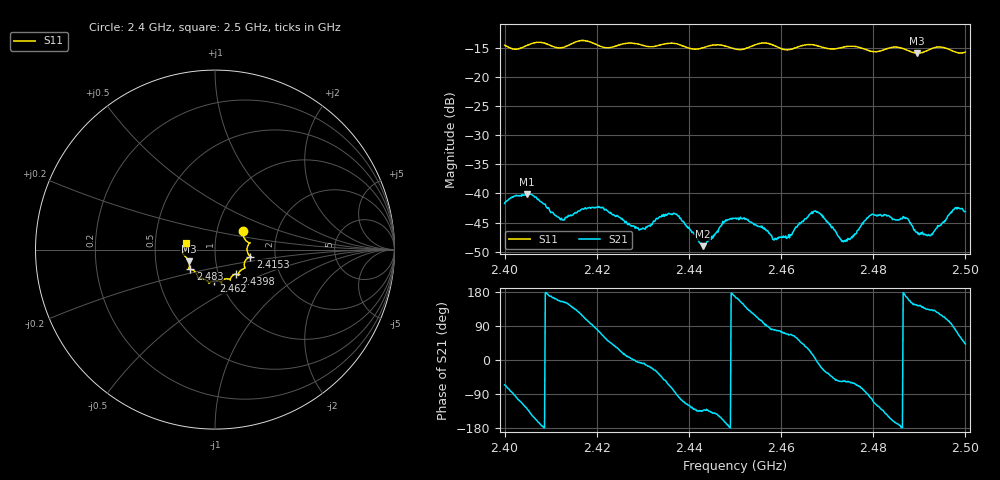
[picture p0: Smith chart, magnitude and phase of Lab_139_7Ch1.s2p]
# Hz S RI R 50
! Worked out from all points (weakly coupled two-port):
!   601 points, 2.4 GHz to 2.5 GHz, reference 50 ohm
!   highest |S21| = -40.07 dB at 2.4048 GHz (marker M1); lowest = -49.1 dB at 2.443 GHz (marker M2)
!   lowest |S11| = -15.9 dB at 2.4895 GHz (marker M3), VSWR 1.38, Z = 36.9 - j4.99 ohm
!   |S11| at or under -10 dB: start of sweep to end of sweep
!   S12 and S22 are empty: the file has one direction only
!   S11 on the Smith chart (normalised r, x): 2.4 GHz: 1.33, +0.29; 2.4153 GHz: 1.48, -0.12; 2.4398 GHz: 1.21, -0.34; 2.462 GHz: 0.93, -0.33; 2.483 GHz: 0.74, -0.17; 2.5 GHz: 0.72, +0.06
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2.4e9  0.1552 0.1064  0.00339 -0.00749  0 0  0 0
2.404833e9  0.1829 0.0413  -0.00606 -0.00785  0 0  0 0
2.412333e9  0.1791 -0.00532  -0.00555 0.00263  0 0  0 0
2.415333e9  0.1968 -0.0386  -0.00471 0.005  0 0  0 0
2.416667e9  0.2023 -0.0427  -0.00368 0.00632  0 0  0 0
2.421e9  0.1751 -0.0539  0.00281 0.00698  0 0  0 0
2.429333e9  0.1588 -0.1065  0.00484 -0.000542  0 0  0 0
2.433333e9  0.1313 -0.1338  0.005 -0.00351  0 0  0 0
2.437e9  0.132 -0.1437  0.000581 -0.00667  0 0  0 0
2.439833e9  0.1151 -0.1364  -0.00247 -0.00437  0 0  0 0
2.443e9  0.0893 -0.1552  -0.00243 -0.00255  0 0  0 0
2.45e9  0.0646 -0.1626  -0.00595 0.00131  0 0  0 0
2.458667e9  0.0331 -0.1832  0.000732 0.00404  0 0  0 0
2.462e9  -0.00511 -0.1732  0.0017 0.0041  0 0  0 0
2.466667e9  -0.0342 -0.1876  0.00665 0.00198  0 0  0 0
2.473667e9  -0.0855 -0.1605  0.00219 -0.00322  0 0  0 0
2.4795e9  -0.1065 -0.1287  -0.00115 -0.00641  0 0  0 0
2.483e9  -0.1378 -0.1096  -0.00523 -0.00368  0 0  0 0
2.483333e9  -0.1402 -0.1093  -0.00556 -0.00325  0 0  0 0
2.4895e9  -0.1464 -0.0657  -0.00376 0.00274  0 0  0 0
2.492333e9  -0.171 -0.0321  -0.00287 0.00323  0 0  0 0
2.5e9  -0.1599 0.0394  0.00519 0.0047  0 0  0 0
